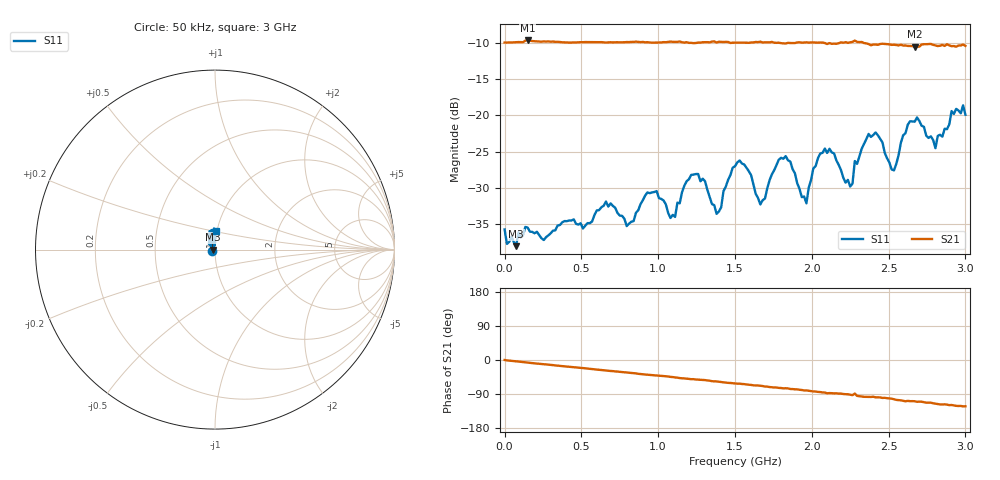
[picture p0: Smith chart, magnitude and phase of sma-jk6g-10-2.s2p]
!File created by NanoVNA-F V2
# Hz S RI R 50
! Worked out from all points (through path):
!   201 points, 50 kHz to 3 GHz, reference 50 ohm
!   highest |S21| = -9.62 dB at 150 MHz (marker M1); lowest = -10.5 dB at 2.67 GHz (marker M2)
!   group delay of S21, straight-line fit = 113 ps
!   lowest |S11| = -38.1 dB at 75.05 MHz (marker M3), VSWR 1.03, Z = 48.8 + j0.0465 ohm
!   |S11| at or under -10 dB: start of sweep to end of sweep
!   S12 and S22 are empty: the file has one direction only
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50000  -0.015 -0.00636  0.3197 0.000307  0 0  0 0
7.504875e7  -0.0124 0.000477  0.3208 -0.0188  0 0  0 0
1.500475e8  -0.016 0.00489  0.3279 -0.0402  0 0  0 0
5.100415e8  -0.0116 0.0117  0.299 -0.1177  0 0  0 0
6.60039e8  -0.0185 0.0174  0.2826 -0.1491  0 0  0 0
1.005033e9  -0.00824 0.0255  0.2399 -0.2115  0 0  0 0
1.110032e9  -0.012 0.0158  0.2241 -0.2329  0 0  0 0
1.260029e9  -0.0124 0.0373  0.1975 -0.2512  0 0  0 0
1.380027e9  -0.00846 0.0191  0.1759 -0.2665  0 0  0 0
1.500025e9  -0.0229 0.0382  0.1509 -0.2812  0 0  0 0
1.665022e9  -0.00718 0.0231  0.1221 -0.3002  0 0  0 0
1.80002e9  -0.0195 0.047  0.0876 -0.304  0 0  0 0
1.965017e9  -0.0113 0.0219  0.0544 -0.3161  0 0  0 0
2.010016e9  -0.0274 0.0332  0.0391 -0.318  0 0  0 0
2.115015e9  -0.0123 0.0575  0.0148 -0.3165  0 0  0 0
2.250012e9  -0.0128 0.0296  -0.00852 -0.3209  0 0  0 0
2.41501e9  -0.0153 0.0747  -0.0458 -0.3064  0 0  0 0
2.505008e9  -0.00711 0.0468  -0.0616 -0.3044  0 0  0 0
2.670006e9  -0.0316 0.0849  -0.0966 -0.2829  0 0  0 0
2.805003e9  -0.0217 0.0553  -0.13 -0.2763  0 0  0 0
2.910002e9  -0.03 0.103  -0.1452 -0.2643  0 0  0 0
3e9  0.00725 0.101  -0.1612 -0.2566  0 0  0 0
